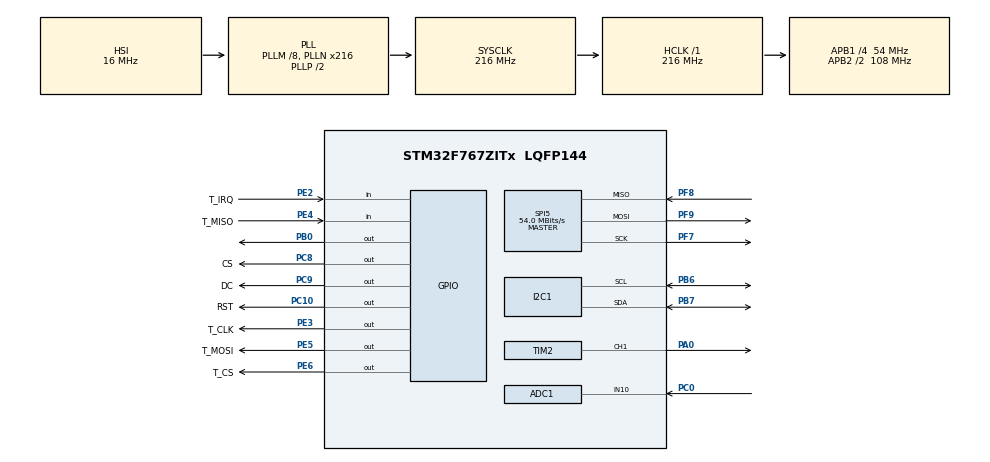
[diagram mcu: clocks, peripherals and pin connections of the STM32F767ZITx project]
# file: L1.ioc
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ADC1.Channel-0\#ChannelRegularConversion=ADC_CHANNEL_10
ADC1.ContinuousConvMode=ENABLE
ADC1.DMAContinuousRequests=DISABLE
ADC1.EOCSelection=ADC_EOC_SEQ_CONV
ADC1.NbrOfConversionFlag=1
ADC1.Rank-0\#ChannelRegularConversion=1
ADC1.SamplingTime-0\#ChannelRegularConversion=ADC_SAMPLETIME_3CYCLES
ADC1.ScanConvMode=ADC_SCAN_DISABLE
ADC1.master=1
CORTEX_M7.default_mode_Activation=1
I2C1.Timing=0x20404768
Mcu.Family=STM32F7
Mcu.Name=STM32F767ZITx
Mcu.Package=LQFP144
NVIC.PriorityGroup=NVIC_PRIORITYGROUP_2
NVIC.TIM2_IRQn=true\:2\:0\:true\:false\:true\:true\:true\:true
PA0/WKUP.Signal=S_TIM2_CH1_ETR
PB0.Signal=GPIO_Output
PB6.Mode=I2C
PB6.Signal=I2C1_SCL
PB7.Mode=I2C
PB7.Signal=I2C1_SDA
PC0.Signal=ADCx_IN10
PC10.GPIO_Label=RST
PC10.Signal=GPIO_Output
PC8.GPIO_Label=CS
PC8.Signal=GPIO_Output
PC9.GPIO_Label=DC
PC9.Signal=GPIO_Output
PE2.GPIO_Label=T_IRQ
PE2.Signal=GPIO_Input
PE3.GPIO_Label=T_CLK
PE3.Signal=GPIO_Output
PE4.GPIO_Label=T_MISO
PE4.Signal=GPIO_Input
PE5.GPIO_Label=T_MOSI
PE5.Signal=GPIO_Output
PE6.GPIO_Label=T_CS
PE6.Signal=GPIO_Output
PF7.Mode=Full_Duplex_Master
PF7.Signal=SPI5_SCK
PF8.Mode=Full_Duplex_Master
PF8.Signal=SPI5_MISO
PF9.Mode=Full_Duplex_Master
PF9.Signal=SPI5_MOSI
ProjectManager.HeapSize=0x200
ProjectManager.StackSize=0x400
ProjectManager.TargetToolchain=STM32CubeIDE
RCC.AHBFreq_Value=216000000
RCC.APB1CLKDivider=RCC_HCLK_DIV4
RCC.APB1Freq_Value=54000000
RCC.APB1TimFreq_Value=108000000
RCC.APB2CLKDivider=RCC_HCLK_DIV2
RCC.APB2Freq_Value=108000000
RCC.APB2TimFreq_Value=216000000
RCC.CortexFreq_Value=216000000
RCC.HCLKFreq_Value=216000000
RCC.HSE_VALUE=25000000
RCC.HSI_VALUE=16000000
RCC.LSE_VALUE=32768
RCC.PLLM=8
RCC.PLLN=216
RCC.PLLQ=9
RCC.SYSCLKFreq_VALUE=216000000
RCC.SYSCLKSource=RCC_SYSCLKSOURCE_PLLCLK
RCC.USBFreq_Value=48000000
RCC.VCOOutputFreq_Value=432000000
SH.ADCx_IN10.0=ADC1_IN10,IN10
SH.S_TIM2_CH1_ETR.0=TIM2_CH1,PWM Generation1 CH1
SPI5.CalculateBaudRate=54.0 MBits/s
SPI5.DataSize=SPI_DATASIZE_8BIT
SPI5.Direction=SPI_DIRECTION_2LINES
SPI5.Mode=SPI_MODE_MASTER
SPI5.VirtualType=VM_MASTER
TIM1.ClockDivision=TIM_CLOCKDIVISION_DIV2
TIM1.Period=10000-1
TIM1.Prescaler=10000-1
TIM2.Channel-PWM\ Generation1\ CH1=TIM_CHANNEL_1
TIM2.Period=1000-1
TIM2.Prescaler=108-1
TIM2.Pulse-PWM\ Generation1\ CH1=1000/4-1
VP_RNG_VS_RNG.Mode=RNG_Activate
VP_TIM1_VS_ClockSourceINT.Mode=Internal
VP_TIM2_VS_ClockSourceINT.Mode=Internal
board=custom

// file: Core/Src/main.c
/* USER CODE BEGIN Header */
/**
  ******************************************************************************
  * @file           : main.c
  * @brief          : Main program body
  ******************************************************************************
  * @attention
  *
  * Copyright (c) 2025 STMicroelectronics.
  * All rights reserved.
  *
  * This software is licensed under terms that can be found in the LICENSE file
  * in the root directory of this software component.
  * If no LICENSE file comes with this software, it is provided AS-IS.
  *
  ******************************************************************************
  */
/* USER CODE END Header */
#include "main.h"

/* USER CODE BEGIN Includes */
#include "ILI9341_Touchscreen.h"
#include "ILI9341_STM32_Driver.h"
#include "ILI9341_GFX.h"

#include "stdio.h"
#include "string.h"
/* USER CODE END Includes */

/* USER CODE BEGIN PD */

int DutyCycle = 20;
uint32_t duty_cycle;
uint16_t avr_8;
char show[50];

/* USER CODE END PD */

ADC_HandleTypeDef hadc1;

I2C_HandleTypeDef hi2c1;

RNG_HandleTypeDef hrng;

SPI_HandleTypeDef hspi5;

TIM_HandleTypeDef htim1;
TIM_HandleTypeDef htim2;

void SystemClock_Config(void);
static void MPU_Config(void);
static void MX_GPIO_Init(void);
static void MX_RNG_Init(void);
static void MX_SPI5_Init(void);
static void MX_TIM1_Init(void);
static void MX_I2C1_Init(void);
static void MX_ADC1_Init(void);
static void MX_TIM2_Init(void);

/* USER CODE BEGIN 0 */

int avrage_8(int x){
	static int samples[8];
	static int i = 0;
	static int total = 0;

	total += x - samples[i];
	samples[i] = x;
	i = (i==7 ? 0 : i+1);
	return total>>3;
}

void PWM_SetDutyCycle(uint8_t duty) {
    uint32_t pulse = (duty * (__HAL_TIM_GET_AUTORELOAD(&htim2))) / 100;
    __HAL_TIM_SET_COMPARE(&htim2, TIM_CHANNEL_1, pulse);
}
/* USER CODE END 0 */

int main(void)
{

  /* MPU Configuration--------------------------------------------------------*/
  MPU_Config();

  /* MCU Configuration--------------------------------------------------------*/

  /* Reset of all peripherals, Initializes the Flash interface and the Systick. */
  HAL_Init();

  /* Configure the system clock */
  SystemClock_Config();

  /* Initialize all configured peripherals */
  MX_GPIO_Init();
  MX_RNG_Init();
  MX_SPI5_Init();
  MX_TIM1_Init();
  MX_I2C1_Init();
  MX_ADC1_Init();
  MX_TIM2_Init();
  /* USER CODE BEGIN 2 */

  // setting ILI9341
  ILI9341_Init();
  ILI9341_Set_Rotation(SCREEN_HORIZONTAL_1);  // หมุนหน้าจอเป็นแนวนอน
  ILI9341_Fill_Screen(WHITE); // เติมหน้าจอด้วยสีขาว

  HAL_TIM_PWM_Start(&htim2, TIM_CHANNEL_1);
  __HAL_TIM_SET_COMPARE(&htim2, TIM_CHANNEL_1, DutyCycle);

  HAL_ADC_Start(&hadc1);
//  HAL_TIM_PWM_Start(&htim2, TIM_CHANNEL_1);

  /* USER CODE END 2 */

  /* Infinite loop */
  while (1)
  {

    /* USER CODE BEGIN 3 */

	  while (HAL_ADC_PollForConversion(&hadc1, 1000) != HAL_OK){}
	  int adc_value = HAL_ADC_GetValue(&hadc1);

	  // แปลงค่า ADC (0-4095) เป็น Duty Cycle (25% - 80%)
	  uint8_t duty = 25 + ((adc_value * 55) / 4095);

	  // ปรับค่าเป็นขั้นละ 5% (เช่น 25%, 30%, 35%, ..., 80%) ((duty + 2) / 5) * 5
	  // ปรับค่าเป็นขั้นละ 10% (เช่น 25%, 30%, 35%, ..., 80%) ((duty + 5) / 10) * 10
	  duty = ((duty + 2) / 5) * 5;

	  PWM_SetDutyCycle(duty);

	  if (duty > 25 && duty <= 45) {
		  ILI9341_Fill_Screen(GREEN);

	  } else if (duty > 45 && duty <= 65){
		  ILI9341_Fill_Screen(RED);

	  } else if (duty > 65 && duty <= 80){
		  ILI9341_Fill_Screen(BLUE);
	  }

//	  HAL_Delay(100);

//	  adjust_backlight(avr_8);

//	  ILI9341_Draw_Text(show, 120, 40, RED, 2, WHITE);
//	  ILI9341_Fill_Screen(WHITE);

  }
  /* USER CODE END 3 */
}

void SystemClock_Config(void)
{
  RCC_OscInitTypeDef RCC_OscInitStruct = {0};
  RCC_ClkInitTypeDef RCC_ClkInitStruct = {0};

  /** Configure the main internal regulator output voltage
  */
  __HAL_RCC_PWR_CLK_ENABLE();
  __HAL_PWR_VOLTAGESCALING_CONFIG(PWR_REGULATOR_VOLTAGE_SCALE1);

  /** Initializes the RCC Oscillators according to the specified parameters
  * in the RCC_OscInitTypeDef structure.
  */
  RCC_OscInitStruct.OscillatorType = RCC_OSCILLATORTYPE_HSI;
  RCC_OscInitStruct.HSIState = RCC_HSI_ON;
  RCC_OscInitStruct.HSICalibrationValue = RCC_HSICALIBRATION_DEFAULT;
  RCC_OscInitStruct.PLL.PLLState = RCC_PLL_ON;
  RCC_OscInitStruct.PLL.PLLSource = RCC_PLLSOURCE_HSI;
  RCC_OscInitStruct.PLL.PLLM = 8;
  RCC_OscInitStruct.PLL.PLLN = 216;
  RCC_OscInitStruct.PLL.PLLP = RCC_PLLP_DIV2;
  RCC_OscInitStruct.PLL.PLLQ = 9;
  RCC_OscInitStruct.PLL.PLLR = 2;
  if (HAL_RCC_OscConfig(&RCC_OscInitStruct) != HAL_OK)
  {
    Error_Handler();
  }

  /** Activate the Over-Drive mode
  */
  if (HAL_PWREx_EnableOverDrive() != HAL_OK)
  {
    Error_Handler();
  }

  /** Initializes the CPU, AHB and APB buses clocks
  */
  RCC_ClkInitStruct.ClockType = RCC_CLOCKTYPE_HCLK|RCC_CLOCKTYPE_SYSCLK
                              |RCC_CLOCKTYPE_PCLK1|RCC_CLOCKTYPE_PCLK2;
  RCC_ClkInitStruct.SYSCLKSource = RCC_SYSCLKSOURCE_PLLCLK;
  RCC_ClkInitStruct.AHBCLKDivider = RCC_SYSCLK_DIV1;
  RCC_ClkInitStruct.APB1CLKDivider = RCC_HCLK_DIV4;
  RCC_ClkInitStruct.APB2CLKDivider = RCC_HCLK_DIV2;

  if (HAL_RCC_ClockConfig(&RCC_ClkInitStruct, FLASH_LATENCY_7) != HAL_OK)
  {
    Error_Handler();
  }
}

static void MX_ADC1_Init(void)
{

  ADC_ChannelConfTypeDef sConfig = {0};

  /** Configure the global features of the ADC (Clock, Resolution, Data Alignment and number of conversion)
  */
  hadc1.Instance = ADC1;
  hadc1.Init.ClockPrescaler = ADC_CLOCK_SYNC_PCLK_DIV4;
  hadc1.Init.Resolution = ADC_RESOLUTION_12B;
  hadc1.Init.ScanConvMode = ADC_SCAN_DISABLE;
  hadc1.Init.ContinuousConvMode = ENABLE;
  hadc1.Init.DiscontinuousConvMode = DISABLE;
  hadc1.Init.ExternalTrigConvEdge = ADC_EXTERNALTRIGCONVEDGE_NONE;
  hadc1.Init.ExternalTrigConv = ADC_SOFTWARE_START;
  hadc1.Init.DataAlign = ADC_DATAALIGN_RIGHT;
  hadc1.Init.NbrOfConversion = 1;
  hadc1.Init.DMAContinuousRequests = DISABLE;
  hadc1.Init.EOCSelection = ADC_EOC_SEQ_CONV;
  if (HAL_ADC_Init(&hadc1) != HAL_OK)
  {
    Error_Handler();
  }

  /** Configure for the selected ADC regular channel its corresponding rank in the sequencer and its sample time.
  */
  sConfig.Channel = ADC_CHANNEL_10;
  sConfig.Rank = ADC_REGULAR_RANK_1;
  sConfig.SamplingTime = ADC_SAMPLETIME_3CYCLES;
  if (HAL_ADC_ConfigChannel(&hadc1, &sConfig) != HAL_OK)
  {
    Error_Handler();
  }

}

static void MX_I2C1_Init(void)
{

  hi2c1.Instance = I2C1;
  hi2c1.Init.Timing = 0x20404768;
  hi2c1.Init.OwnAddress1 = 0;
  hi2c1.Init.AddressingMode = I2C_ADDRESSINGMODE_7BIT;
  hi2c1.Init.DualAddressMode = I2C_DUALADDRESS_DISABLE;
  hi2c1.Init.OwnAddress2 = 0;
  hi2c1.Init.OwnAddress2Masks = I2C_OA2_NOMASK;
  hi2c1.Init.GeneralCallMode = I2C_GENERALCALL_DISABLE;
  hi2c1.Init.NoStretchMode = I2C_NOSTRETCH_DISABLE;
  if (HAL_I2C_Init(&hi2c1) != HAL_OK)
  {
    Error_Handler();
  }

  /** Configure Analogue filter
  */
  if (HAL_I2CEx_ConfigAnalogFilter(&hi2c1, I2C_ANALOGFILTER_ENABLE) != HAL_OK)
  {
    Error_Handler();
  }

  /** Configure Digital filter
  */
  if (HAL_I2CEx_ConfigDigitalFilter(&hi2c1, 0) != HAL_OK)
  {
    Error_Handler();
  }

}

static void MX_RNG_Init(void)
{

  hrng.Instance = RNG;
  if (HAL_RNG_Init(&hrng) != HAL_OK)
  {
    Error_Handler();
  }

}

static void MX_SPI5_Init(void)
{

  /* SPI5 parameter configuration*/
  hspi5.Instance = SPI5;
  hspi5.Init.Mode = SPI_MODE_MASTER;
  hspi5.Init.Direction = SPI_DIRECTION_2LINES;
  hspi5.Init.DataSize = SPI_DATASIZE_8BIT;
  hspi5.Init.CLKPolarity = SPI_POLARITY_LOW;
  hspi5.Init.CLKPhase = SPI_PHASE_1EDGE;
  hspi5.Init.NSS = SPI_NSS_SOFT;
  hspi5.Init.BaudRatePrescaler = SPI_BAUDRATEPRESCALER_2;
  hspi5.Init.FirstBit = SPI_FIRSTBIT_MSB;
  hspi5.Init.TIMode = SPI_TIMODE_DISABLE;
  hspi5.Init.CRCCalculation = SPI_CRCCALCULATION_DISABLE;
  hspi5.Init.CRCPolynomial = 7;
  hspi5.Init.CRCLength = SPI_CRC_LENGTH_DATASIZE;
  hspi5.Init.NSSPMode = SPI_NSS_PULSE_ENABLE;
  if (HAL_SPI_Init(&hspi5) != HAL_OK)
  {
    Error_Handler();
  }

}

static void MX_TIM1_Init(void)
{

  TIM_ClockConfigTypeDef sClockSourceConfig = {0};
  TIM_MasterConfigTypeDef sMasterConfig = {0};

  htim1.Instance = TIM1;
  htim1.Init.Prescaler = 10000-1;
  htim1.Init.CounterMode = TIM_COUNTERMODE_UP;
  htim1.Init.Period = 10000-1;
  htim1.Init.ClockDivision = TIM_CLOCKDIVISION_DIV2;
  htim1.Init.RepetitionCounter = 0;
  htim1.Init.AutoReloadPreload = TIM_AUTORELOAD_PRELOAD_DISABLE;
  if (HAL_TIM_Base_Init(&htim1) != HAL_OK)
  {
    Error_Handler();
  }
  sClockSourceConfig.ClockSource = TIM_CLOCKSOURCE_INTERNAL;
  if (HAL_TIM_ConfigClockSource(&htim1, &sClockSourceConfig) != HAL_OK)
  {
    Error_Handler();
  }
  sMasterConfig.MasterOutputTrigger = TIM_TRGO_RESET;
  sMasterConfig.MasterOutputTrigger2 = TIM_TRGO2_RESET;
  sMasterConfig.MasterSlaveMode = TIM_MASTERSLAVEMODE_DISABLE;
  if (HAL_TIMEx_MasterConfigSynchronization(&htim1, &sMasterConfig) != HAL_OK)
  {
    Error_Handler();
  }

}

static void MX_TIM2_Init(void)
{

  TIM_ClockConfigTypeDef sClockSourceConfig = {0};
  TIM_MasterConfigTypeDef sMasterConfig = {0};
  TIM_OC_InitTypeDef sConfigOC = {0};

  htim2.Instance = TIM2;
  htim2.Init.Prescaler = 108-1;
  htim2.Init.CounterMode = TIM_COUNTERMODE_UP;
  htim2.Init.Period = 1000-1;
  htim2.Init.ClockDivision = TIM_CLOCKDIVISION_DIV1;
  htim2.Init.AutoReloadPreload = TIM_AUTORELOAD_PRELOAD_DISABLE;
  if (HAL_TIM_Base_Init(&htim2) != HAL_OK)
  {
    Error_Handler();
  }
  sClockSourceConfig.ClockSource = TIM_CLOCKSOURCE_INTERNAL;
  if (HAL_TIM_ConfigClockSource(&htim2, &sClockSourceConfig) != HAL_OK)
  {
    Error_Handler();
  }
  if (HAL_TIM_PWM_Init(&htim2) != HAL_OK)
  {
    Error_Handler();
  }
  sMasterConfig.MasterOutputTrigger = TIM_TRGO_RESET;
  sMasterConfig.MasterSlaveMode = TIM_MASTERSLAVEMODE_DISABLE;
  if (HAL_TIMEx_MasterConfigSynchronization(&htim2, &sMasterConfig) != HAL_OK)
  {
    Error_Handler();
  }
  sConfigOC.OCMode = TIM_OCMODE_PWM1;
  sConfigOC.Pulse = 1000/4-1;
  sConfigOC.OCPolarity = TIM_OCPOLARITY_HIGH;
  sConfigOC.OCFastMode = TIM_OCFAST_DISABLE;
  if (HAL_TIM_PWM_ConfigChannel(&htim2, &sConfigOC, TIM_CHANNEL_1) != HAL_OK)
  {
    Error_Handler();
  }
  HAL_TIM_MspPostInit(&htim2);

}

static void MX_GPIO_Init(void)
{
  GPIO_InitTypeDef GPIO_InitStruct = {0};

  /* GPIO Ports Clock Enable */
  __HAL_RCC_GPIOE_CLK_ENABLE();
  __HAL_RCC_GPIOF_CLK_ENABLE();
  __HAL_RCC_GPIOC_CLK_ENABLE();
  __HAL_RCC_GPIOA_CLK_ENABLE();
  __HAL_RCC_GPIOB_CLK_ENABLE();

  /*Configure GPIO pin Output Level */
  HAL_GPIO_WritePin(GPIOE, T_CLK_Pin|T_MOSI_Pin|T_CS_Pin, GPIO_PIN_RESET);

  /*Configure GPIO pin Output Level */
  HAL_GPIO_WritePin(GPIOB, GPIO_PIN_0, GPIO_PIN_RESET);

  /*Configure GPIO pin Output Level */
  HAL_GPIO_WritePin(GPIOC, CS_Pin|DC_Pin|RST_Pin, GPIO_PIN_RESET);

  /*Configure GPIO pins : T_IRQ_Pin T_MISO_Pin */
  GPIO_InitStruct.Pin = T_IRQ_Pin|T_MISO_Pin;
  GPIO_InitStruct.Mode = GPIO_MODE_INPUT;
  GPIO_InitStruct.Pull = GPIO_NOPULL;
  HAL_GPIO_Init(GPIOE, &GPIO_InitStruct);

  /*Configure GPIO pins : T_CLK_Pin T_MOSI_Pin T_CS_Pin */
  GPIO_InitStruct.Pin = T_CLK_Pin|T_MOSI_Pin|T_CS_Pin;
  GPIO_InitStruct.Mode = GPIO_MODE_OUTPUT_PP;
  GPIO_InitStruct.Pull = GPIO_NOPULL;
  GPIO_InitStruct.Speed = GPIO_SPEED_FREQ_LOW;
  HAL_GPIO_Init(GPIOE, &GPIO_InitStruct);

  /*Configure GPIO pin : PB0 */
  GPIO_InitStruct.Pin = GPIO_PIN_0;
  GPIO_InitStruct.Mode = GPIO_MODE_OUTPUT_PP;
  GPIO_InitStruct.Pull = GPIO_NOPULL;
  GPIO_InitStruct.Speed = GPIO_SPEED_FREQ_LOW;
  HAL_GPIO_Init(GPIOB, &GPIO_InitStruct);

  /*Configure GPIO pins : CS_Pin DC_Pin RST_Pin */
  GPIO_InitStruct.Pin = CS_Pin|DC_Pin|RST_Pin;
  GPIO_InitStruct.Mode = GPIO_MODE_OUTPUT_PP;
  GPIO_InitStruct.Pull = GPIO_NOPULL;
  GPIO_InitStruct.Speed = GPIO_SPEED_FREQ_LOW;
  HAL_GPIO_Init(GPIOC, &GPIO_InitStruct);

}

 /* MPU Configuration */

void MPU_Config(void)
{
  MPU_Region_InitTypeDef MPU_InitStruct = {0};

  /* Disables the MPU */
  HAL_MPU_Disable();

  /** Initializes and configures the Region and the memory to be protected
  */
  MPU_InitStruct.Enable = MPU_REGION_ENABLE;
  MPU_InitStruct.Number = MPU_REGION_NUMBER0;
  MPU_InitStruct.BaseAddress = 0x0;
  MPU_InitStruct.Size = MPU_REGION_SIZE_4GB;
  MPU_InitStruct.SubRegionDisable = 0x87;
  MPU_InitStruct.TypeExtField = MPU_TEX_LEVEL0;
  MPU_InitStruct.AccessPermission = MPU_REGION_NO_ACCESS;
  MPU_InitStruct.DisableExec = MPU_INSTRUCTION_ACCESS_DISABLE;
  MPU_InitStruct.IsShareable = MPU_ACCESS_SHAREABLE;
  MPU_InitStruct.IsCacheable = MPU_ACCESS_NOT_CACHEABLE;
  MPU_InitStruct.IsBufferable = MPU_ACCESS_NOT_BUFFERABLE;

  HAL_MPU_ConfigRegion(&MPU_InitStruct);
  /* Enables the MPU */
  HAL_MPU_Enable(MPU_PRIVILEGED_DEFAULT);

}

void Error_Handler(void)
{
  __disable_irq();
  while (1)
  {
  }
}
